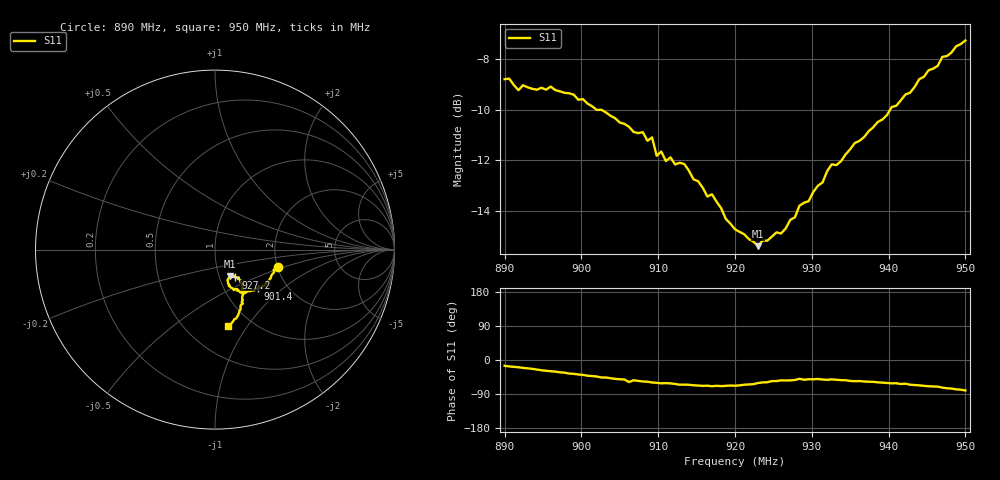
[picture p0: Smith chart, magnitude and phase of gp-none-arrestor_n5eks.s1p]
# HZ S RI R 50
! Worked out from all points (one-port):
!   101 points, 890 MHz to 950 MHz, reference 50 ohm
!   lowest |S11| = -15.4 dB at 923 MHz (marker M1), VSWR 1.41, Z = 56.3 - j17.3 ohm
!   |S11| at or under -10 dB: 901.9 MHz to 940.2 MHz (38.29 MHz wide, 4.16 % of centre)
!   S11 on the Smith chart (normalised r, x): 890 MHz: 2.01, -0.44; 901.4 MHz: 1.43, -0.69; 927.2 MHz: 1.19, -0.38; 950 MHz: 0.78, -0.82
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8.9e8  0.3499 -0.0954
8.918e8  0.3261 -0.1133
8.978e8  0.2845 -0.188
9.014e8  0.237 -0.2163
9.05e8  0.1885 -0.2309
9.056e8  0.1844 -0.232
9.062e8  0.154 -0.2487
9.068e8  0.1703 -0.2294
9.092e8  0.1423 -0.2397
9.098e8  0.1271 -0.2229
9.104e8  0.1245 -0.23
9.11e8  0.1214 -0.2192
9.128e8  0.1045 -0.2256
9.164e8  0.0805 -0.1977
9.17e8  0.0767 -0.2015
9.2e8  0.0691 -0.1706
9.23e8  0.0832 -0.1489
9.26e8  0.1068 -0.1457
9.272e8  0.1135 -0.155
9.278e8  0.1176 -0.1547
9.284e8  0.133 -0.1558
9.296e8  0.1322 -0.1619
9.326e8  0.1546 -0.1924
9.35e8  0.1506 -0.2172
9.422e8  0.156 -0.3004
9.428e8  0.1429 -0.3098
9.464e8  0.1305 -0.3626
9.5e8  0.0716 -0.426
